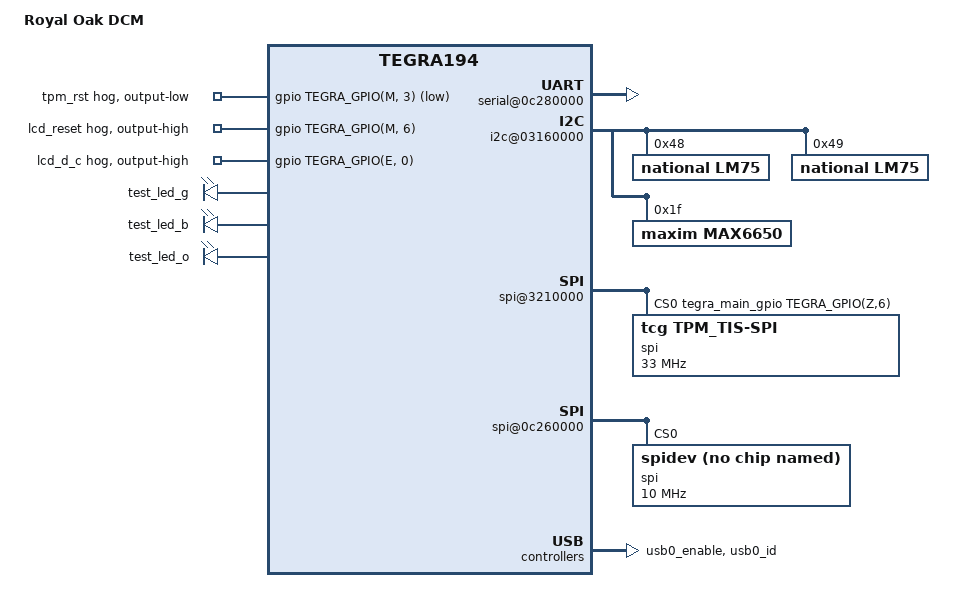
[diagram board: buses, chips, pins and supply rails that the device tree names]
/*
 * Top level DTS file for CVM:P2888-0001 and CVB:P2822-0000.
 *
 * Copyright (c) 2020, Miovision.  All rights reserved.
 *
 * This program is free software; you can redistribute it and/or modify
 * it under the terms of the GNU General Public License as published by
 * the Free Software Foundation; version 2 of the License.
 *
 * This program is distributed in the hope that it will be useful, but WITHOUT
 * ANY WARRANTY; without even the implied warranty of MERCHANTABILITY or
 * FITNESS FOR A PARTICULAR PURPOSE.  See the GNU General Public License for
 * more details.
 */
#include "common/tegra194-p2888-0001-p2822-0000-common.dtsi"
#include "common/tegra194-p2822-camera-modules.dtsi"
#include "t19x-common-modules/tegra194-camera-plugin-manager.dtsi"
#include <dt-bindings/gpio/tegra194-gpio.h>
#include "tegra19x-dcm_0v6-gpio-default.dtsi"
#include "tegra19x-dcm_0v6-padvoltage-default.dtsi"
#include "tegra19x-dcm_0v6-pinmux.dtsi"

/ {
    model = "Royal Oak DCM";
    compatible = "nvidia,jetson-xavier", "nvidia,tegra194";
    nvidia,dtsfilename = __FILE__;

	// Default boot ARGS
    chosen {
		bootargs ="console=ttyTCU0,115200";
		board-has-eeprom;
	};


    //*********************************************************************
    // Serial UART Setup
    //*********************************************************************
    // Xavier Module UART 3 -->  UART 1 (Debug Port)
    serial@0c280000 {
        compatible = "nvidia,tegra184-uart", "nvidia,tegra114-hsuart", "nvidia,tegra20-uart";
        console-port;
        sqa-automation-port;
        /delete-property/ resets;
        /delete-property/ reset-names;
        status = "okay";
    };

    // Xavier Module UART 0
    serial@3100000 {
        status = "disabled";
    };

    // Xavier Module UART 1
    serial@3110000 {
        status = "disabled";
    };

    // Xavier Module I2C-1 --> Tegra I2C2
    //		LM75 Temperature      0x48 (Ethernet Switch)
    //		LM75 Temperature      0x49 (+53 Power Module)
    //		MAX6650 AUX Fan       0x1F (Aux Fan)
    i2c@03160000 {
         status = "okay";

        lm75@48 {
            status= "okay";
            compatible = "national,lm75";
            reg = <0x48>;
        };

         lm75@49 {
            status= "okay";
            compatible = "national,lm75";
            reg = <0x49>;
        };

        max6650@1f {
            reg = <0x1f>;
            compatible = "maxim,max6650";
            maxim,fan-microvolt = <12000000>;
            maxim,fan-prescale = <4>;
            maxim,fan-target-rpm = <0>;
        };
    };

    //*********************************************************************
    // SPI Setup
    //
    // Notes:
    //		Xavier supports up to 65Mhz SPI clocks.
    //*********************************************************************

    // Xavier Module SPI 1--> Tegra SPI 1 (TPM)
    spi@3210000 {
        status = "okay";
        // Not actually 100% sure this does anything, it was suggested on the NVidia forums. The kernel doesn't
        // look for this, but possibly one of the boot loaders does. This is suppose to disable power management
        // on the interface.
        nvidia,disable-runtime-pm;

        // The PINMUX needed to be adjusted to put the CS line as a GPIO pin which is software controlled,
        // the hardware control was dropping the CS line between transactions resetting the TPM.
       	cs-gpios = <&tegra_main_gpio TEGRA_GPIO(Z,6) 0>;

        spi@0 {
            reg = <0x0>;
            compatible = "tcg,tpm_tis-spi";
            spi-max-frequency = <33000000>;
            controller-data {
                // This setting along with the cs-gpios keeps the CS active during the full transaction.
                nvidia,clk-delay-between-packets = <0x1>;
            };
        };
    };

    // Xavier Module SPI 2 --> Tegra SPI 2 (LCD, )
    spi@0c260000 {
        status = "okay";

        // Configure the SPI link between the boards using a generic SPIDEV so tools
        // can be used.


        spi@0 {
            compatible = "spidev";
            reg = <0x0>;

            // Set the max speed to 10Mhz as its cross board and we don't know whats going
            // to be connected yet.
            spi-max-frequency = <10000000>;
            nvidia,enable-hw-based-cs;
            nvidia,rx-clk-tap-delay = <6>;
        };
    };

    //*********************************************************************
    // GPIO Setup
    //*********************************************************************


    /////////////////////////////////////
    // Input Buttons
    /////////////////////////////////////
    gpio: gpio@02200000 {
        //*****************
        // Inputs
        //*****************

        // BUT_CENTERn => GPIO18 => SOC_GPIO40 GPIO03 => P(Q,4) *
       button_center {
            status = "okay";
            input;
            gpios = <TEGRA_GPIO(Q, 4) GPIO_ACTIVE_HIGH>;
            line-name = "Button-Centern";
        };

        // BUT_UPn => GPIO33 => SOC_GPIO05  GPIO3 => P(P,5) *
        button_up {
            status = "okay";
            input;
            gpios = <TEGRA_GPIO(P, 5) GPIO_ACTIVE_HIGH>;
            line-name = "Button-Upn";
        };


        // BUT_DOWNn => GPIO17 => SOC_GPIO21 GPIO3 => P(Q,1) *
        button_down {
            status = "okay";
            input;
            gpios = <TEGRA_GPIO(Q, 1) GPIO_ACTIVE_HIGH>;
            line-name = "button-down";
        };

        // BUT_LEFTn => GPIO29 => SOC_GPIO31   GPIO3 => P(S,6) *
        button_left {
            status = "okay";
            input;
            gpios = <TEGRA_GPIO(S, 6) GPIO_ACTIVE_HIGH>;
            line-name = "button-left";
        };

        // BUT_RIGHTn => GPIO11 => SOC_GPIO30   GPIO3 => P(S,5) *
        button_right {
            status = "okay";
            input;
            gpios = <TEGRA_GPIO(S, 5) GPIO_ACTIVE_HIGH>;
            line-name = "button-right";
        };

        /////////////////////////////////////
        // Input Power good
        /////////////////////////////////////
        // PM_CTM_PWR_GOOD => GPIO36 => SOC_GPIO53  => GPIO3 P(N,0) *
        ctm_pwr_good {
            status = "okay";
            input;
            gpios = <TEGRA_GPIO(N, 0) GPIO_ACTIVE_HIGH>;
            line-name = "ctm_pwr_good";
        };

        /////////////////////////////////////
        // Over Temp Shutdown
        /////////////////////////////////////
        // OVERTEMP_SHDN => GPIO23 => USB_VBUS_EN1  => GPIO3 P(Z,2) *
        overtemp_shdn {
            status = "okay";
            input;
            gpios = <TEGRA_GPIO(Z, 2) GPIO_ACTIVE_HIGH>;
            line-name = "overtemp_shdn";
        };

        /////////////////////////////////////
        // USB
        /////////////////////////////////////
        // USB0_EN => GPIO22 => USB_VBUS_EN0  => GPIO3 P(Z,1) *

        usb0_enable {
            status = "okay";
            gpio-hog;
            output-low;
            gpios = <TEGRA_GPIO(Z, 1) GPIO_ACTIVE_LOW>;
            line-name = "usb0_enable";
        };

        //USB_VBUS_DET => GPIO10 => CAN1_WAKE => GPIO3 P(BB,2) *
        usb0_vbus_detect {
            status = "okay";
            input;
            gpios = <TEGRA_GPIO(BB, 2) GPIO_ACTIVE_HIGH>;
            line-name = "usb0_vbus_detect";
        };

        //USB_ID => GPIO30 => GPIO20 => GPIO3 P(Q,0) *
        usb0_id {
            status = "okay";
            input;
            gpios = <TEGRA_GPIO(Q, 0) GPIO_ACTIVE_HIGH>;
            line-name = "usb0_id";
        };

        /////////////////////////////////////
        // PM_LED_BL_ST
        /////////////////////////////////////
        // PM_LED_BL_ST => GPIO32 => SOC_GPIO04 => GPIO3 P(P,4) *
        pm_led_bl_st {
            status = "okay";
            input;
            gpios = <TEGRA_GPIO(P, 4) GPIO_ACTIVE_HIGH>;
            line-name = "pm_led_bl_st";
        };

        // TPM_RSTn => GPIO24 => DP_AUX_CH3_HPD => GPIO3 P(M,3) *
        tpm_rst {
            status = "okay";
            gpio-hog;
            output-low;
            gpios = <TEGRA_GPIO(M, 3) GPIO_ACTIVE_LOW>;
            line-name = "tpm_rst";
        };

        /////////////////////////////////////
        // LCD
        /////////////////////////////////////
        // LCD_RESET => GPIO26 => SOC_GPIO51  => GPIO3 P(M,6) *
        lcd_reset {
            status = "okay";
            gpio-hog;
            output-high;
            gpios = <TEGRA_GPIO(M, 6) GPIO_ACTIVE_HIGH>;
            line-name = "lcd_reset";
        };
         //LCD_D_C => GPIO31 => SAFE_STATE  => GPIO3 P(EE,0)
        lcd_d_c {
            status = "okay";
            gpio-hog;
            output-high;
            gpios = <TEGRA_GPIO(E, 0) GPIO_ACTIVE_HIGH>;
            line-name = "lcd_d_c";
        };
    };

    /////////////////////////////////////
    // Output Test LEDs
    /////////////////////////////////////

    leds {
        status = "okay";
        compatible = "gpio-leds";
        //TEST_LED1_G => GPIO_21  3.3v
        //GPIO_21 => DAP6_SCLK GPIO3 => P(A,0) *

        test_led_g {
            gpios = <TEGRA_GPIO(A, 0) GPIO_ACTIVE_HIGH>;
            default-state = "off";
            linux,default-trigger = "test_led_g";
        };
        //TEST_LED1_B => GPIO 04  3.3v
        //GPIO_04 => DAP6_DIN GPIO3 => P(A,02) *
        test_led_b {
            gpios = <TEGRA_GPIO(N, 2) GPIO_ACTIVE_HIGH>;
            default-state = "off";
            linux,default-trigger = "test_led_b";
        };
        //TEST_LED1_O => GPIO 09  3.3v
        //GPIO_09 => CAN1_EN GPIO3 => P(BB,1) *

        test_led_o {
            gpios = <TEGRA_GPIO(BB, 1) GPIO_ACTIVE_HIGH>;
            default-state = "off";
            linux,default-trigger = "test_led_o";
        };
     };

};
